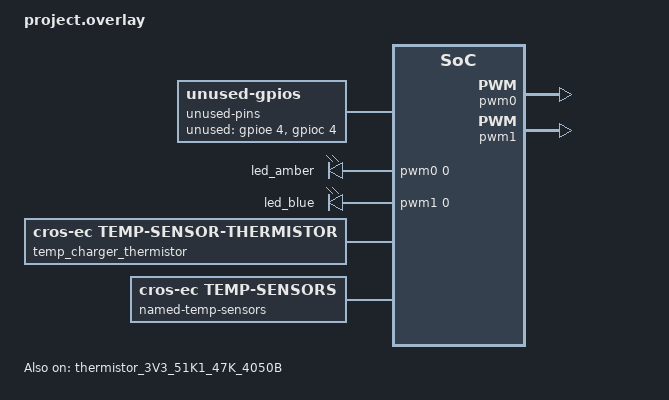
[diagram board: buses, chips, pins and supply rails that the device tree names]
/* Copyright 2022 The ChromiumOS Authors
 * Use of this source code is governed by a BSD-style license that can be
 * found in the LICENSE file.
 */

/* Corsola program common DTS includes */

#include "../common.dtsi"
#include "../power_signal.dtsi"
#include "../usba.dtsi"
#include "../npcx_adc.dtsi"
#include "../npcx_gpio.dtsi"
#include "../npcx_host_interface.dtsi"
#include "../npcx_i2c.dtsi"
#include "../npcx_interrupts.dtsi"
#include "../npcx_keyboard.dtsi"
#include "../npcx_motionsense.dtsi"
#include "../npcx_usbc.dtsi"
#include "../npcx_default_gpio_pinctrl.dtsi"
#include <cros/thermistor/thermistor.dtsi>
#include <dt-bindings/battery.h>

/ {
	aliases {
		/*
		 * Interrupt bindings for sensor devices.
		 */
		lsm6dsm-int = &base_accel;
	};

	/* Squirtle-specific ssfc fields. */
	cbi-ssfc {
		compatible = "cros-ec,cbi-ssfc";
		/*
		 * SSFC field to identify BASE motion sensor.
		 */
		base-sensor {
			enum-name = "BASE_SENSOR";
			size = <2>;

			base_sensor_bmi323: bmi323 {
				compatible = "cros-ec,cbi-ssfc-value";
				status = "okay";
				value = <1>;
				default;
			};
			base_sensor_lsm6dsm: lsm6dsm {
				compatible = "cros-ec,cbi-ssfc-value";
				status = "okay";
				value = <2>;
			};
		};

		/* SSFC field to identify LID motion sensor. */
		lid-sensor {
			enum-name = "LID_SENSOR";
			size = <2>;
			lid_sensor_bma422: bma422 {
				compatible = "cros-ec,cbi-ssfc-value";
				status = "okay";
				value = <1>;
				default;
			};
			lid_sensor_lis2dw12: lis2dw12 {
				compatible = "cros-ec,cbi-ssfc-value";
				status = "okay";
				value = <2>;
			};
		};
	};

	unused-pins {
		compatible = "unused-gpios";

		unused-gpios =
			/* base_imu_int_l */
			/* <&gpio5 6 0>,*/
			/* ec_pen_chg_dis_odl */
			<&gpioe 4 0>,
			/* lid_accel_int_l */
			/* <&gpiob 3 0>,*/
			/* gpio_tablet_mode_l */
			/*<&gpiob 2 0>,*/
			/* LED3 */
			<&gpioc 4 0>;
	};

	batteries {
		default_battery: lgc_ap18c8k {
			compatible = "lgc,ap18c8k", "battery-smart";
		};
		cosmx_ap20cbl-2 {
			compatible = "cosmx,ap20cbl-2", "battery-smart";
		};
		lgc_ap19b8k {
			compatible = "lgc,ap19b8k", "battery-smart";
		};
		lges-ap23a8l {
			compatible = "lges,ap23a8l", "battery-smart";
		};
		panasonic_ap19b5k {
			compatible = "panasonic,ap19b5k", "battery-smart";
		};
		panasonic_ap23a5l {
			compatible = "panasonic,ap23a5l", "battery-smart";
		};
		smp_ap18c7k {
			compatible = "smp,ap18c7k", "battery-smart";
		};
	};

	cros-keyscan {
		compatible = "cros-ec,keyscan";

		debounce-down = <20000>;
		debounce-up = <20000>;

		actual-key-mask = <
			0x1c	/* C0 */
			0xff	/* C1 */
			0xff	/* C2 */
			0xff	/* C3 */
			0xff	/* C4 */
			0xf5	/* C5 */
			0xff	/* C6 */
			0xa4	/* C7 */
			0xff	/* C8 */
			0xfe	/* C9 */
			0x55	/* C10 */
			0xfa	/* C11 */
			0xca	/* C12 */
		>;
	};

	/* Rotation matrix used by drivers. */
	motionsense-rotation-ref {
		lid_rot_lis2dw12: lid-rotation-ref-lis2dw12 {
			mat33 = <0 (-1) 0
				 (-1) 0 0
				 0 0 (-1)>;
		};

		base_rot_lsm6dsm: base-rotation-ref-lsm6dsm {
			mat33 = <0 (-1) 0
				 1 0 0
				 0 0 1>;
		};
	};

	/*
	 * Driver specific data. A driver-specific data can be shared with
	 * different motion sensors while they are using the same driver.
	 *
	 * If a node's compatible starts with "cros-ec,accelgyro-", it is for
	 * a common structure defined in accelgyro.h.
	 * e.g) compatible = "cros-ec,accelgyro-als-drv-data" is for
	 * "struct als_drv_data_t" in accelgyro.h
	 */
	motionsense-sensor-data {
		lis2dw12_data: lis2dw12-drv-data {
			compatible = "cros-ec,drvdata-lis2dw12";
			status = "okay";
		};

		lsm6dsm_accel_data: lsm6dsm-accel-drv-data {
			compatible = "cros-ec,drvdata-lsm6dsm";
			status = "okay";
		};
		lsm6dsm_gyro_data: lsm6dsm-gyro-drv-data {
			compatible = "cros-ec,drvdata-lsm6dsm";
			status = "okay";
		};
	};

	/*
	 * List of motion sensors that creates motion_sensors array.
	 * The nodelabel "lid_accel" and "base_accel" are used to indicate
	 * motion sensor IDs for lid angle calculation.
	 * TODO(b/238139272): The first entries of the array must be
	 * accelerometers,then gyroscope. Fix this dependency in the DTS
	 * processing which makes the devicetree entries independent.
	 */
	motionsense-sensor-alt {
			alt_lid_accel: alt-lid-accel {
			compatible = "cros-ec,lis2dw12";
			status = "okay";

			active-mask = "SENSOR_ACTIVE_S0_S3";
			location = "MOTIONSENSE_LOC_LID";
			mutex = <&lid_mutex>;
			port = <&i2c_sensor>;
			rot-standard-ref = <&lid_rot_lis2dw12>;
			default-range = <2>;
			drv-data = <&lis2dw12_data>;
			i2c-spi-addr-flags = "LIS2DWL_ADDR0_FLAGS";
			alternate-for = <&lid_accel>;
			alternate-ssfc-indicator = <&lid_sensor_lis2dw12>;
			configs {
				compatible =
					"cros-ec,motionsense-sensor-config";
				ec-s0 {
					odr = <(10000 | ROUND_UP_FLAG)>;
				};
				ec-s3 {
					odr = <(10000 | ROUND_UP_FLAG)>;
				};
			};
		};

		alt_base_accel: alt-base-accel {
			compatible = "cros-ec,lsm6dsm-accel";
			status = "okay";

			active-mask = "SENSOR_ACTIVE_S0_S3";
			location = "MOTIONSENSE_LOC_BASE";
			mutex = <&base_mutex>;
			port = <&i2c_sensor>;
			rot-standard-ref = <&base_rot_lsm6dsm>;
			drv-data = <&lsm6dsm_accel_data>;
			alternate-for = <&base_accel>;
			alternate-ssfc-indicator = <&base_sensor_lsm6dsm>;
			configs {
				compatible =
					"cros-ec,motionsense-sensor-config";
				ec-s0 {
					odr = <(10000 | ROUND_UP_FLAG)>;
				};
				ec-s3 {
					odr = <(10000 | ROUND_UP_FLAG)>;
				};
			};
		};

		alt_base_gyro: alt-base-gyro {
			compatible = "cros-ec,lsm6dsm-gyro";
			status = "okay";

			active-mask = "SENSOR_ACTIVE_S0_S3";
			location = "MOTIONSENSE_LOC_BASE";
			mutex = <&base_mutex>;
			port = <&i2c_sensor>;
			rot-standard-ref = <&base_rot_lsm6dsm>;
			drv-data = <&lsm6dsm_gyro_data>;
			alternate-for = <&base_gyro>;
			alternate-ssfc-indicator = <&base_sensor_lsm6dsm>;
		};
	};

	led-colors {
		compatible = "cros-ec,led-policy";

		/* Voltorb LED bat charge */
		bat-power-state-charge {
			charge-state = "LED_PWRS_CHARGE";
			/* Battery display percent range (>= Empty, <= 99%) */
			batt-lvl = <BATTERY_LEVEL_EMPTY 99>;

			battery-led {
				led-id = "EC_LED_ID_BATTERY_LED";

				color-0 {
					led-color = "LED_AMBER";
				};
			};
		};

		/* Voltorb LED bat charge, full batt-lvl */
		bat-power-state-charge-full {
			charge-state = "LED_PWRS_CHARGE";
			/* Battery display percent range (100%) */
			batt-lvl = <BATTERY_LEVEL_FULL BATTERY_LEVEL_FULL>;

			battery-led {
				led-id = "EC_LED_ID_BATTERY_LED";

				color-0 {
					led-color = "LED_BLUE";
				};
			};
		};

		/* Voltorb LED bat charge near full */
		bat-power-state-charge-near-full {
			charge-state = "LED_PWRS_CHARGE_NEAR_FULL";

			battery-led {
				led-id = "EC_LED_ID_BATTERY_LED";

				color-0 {
					led-color = "LED_BLUE";
				};
			};
		};

		/* Voltorb LED bat discharge */
		bat-power-state-discharge-s0 {
			charge-state = "LED_PWRS_DISCHARGE";
			chipset-state = "POWER_S0";

			battery-led {
				led-id = "EC_LED_ID_BATTERY_LED";

				color-0 {
					led-color = "LED_BLUE";
				};
			};
		};
		bat-power-state-discharge-s3 {
			charge-state = "LED_PWRS_DISCHARGE";
			chipset-state = "POWER_S3";

			battery-led {
				led-id = "EC_LED_ID_BATTERY_LED";

				color-0 {
					led-color = "LED_AMBER";
					period-ms = <1000>;
				};
				color-1 {
					led-color = "LED_OFF";
					period-ms = <3000>;
				};
			};
		};
		bat-power-state-discharge-s5 {
			charge-state = "LED_PWRS_DISCHARGE";
			chipset-state = "POWER_S5";

			battery-led {
				led-id = "EC_LED_ID_BATTERY_LED";

				color-0 {
					led-color = "LED_OFF";
				};
			};
		};

		/* Voltorb LED bat error */
		bat-power-state-error {
			charge-state = "LED_PWRS_ERROR";

			battery-led {
				led-id = "EC_LED_ID_BATTERY_LED";

				color-0 {
					led-color = "LED_AMBER";
					period-ms = <1000>;
				};
				color-1 {
					led-color = "LED_OFF";
					period-ms = <1000>;
				};
			};
		};

		/* Voltorb LED power idle */
		power-state-idle {
			charge-state = "LED_PWRS_IDLE";

			battery-led {
				led-id = "EC_LED_ID_BATTERY_LED";

				color-0 {
					led-color = "LED_BLUE";
				};
			};
		};

		/* Voltorb LED power forced idle */
		power-state-forced-idle {
			charge-state = "LED_PWRS_FORCED_IDLE";

			battery-led {
				led-id = "EC_LED_ID_BATTERY_LED";

				color-0 {
					led-color = "LED_AMBER";
					period-ms = <2000>;
				};
				color-1 {
					led-color = "LED_BLUE";
					period-ms = <2000>;
				};
			};
		};
	};

	pwmleds {
		compatible = "pwm-leds";

		led_amber: ec_led1_odl {
			pwms = <&pwm0 0 PWM_HZ(100) PWM_POLARITY_INVERTED>;
		};

		led_blue: ec_led2_odl {
			pwms = <&pwm1 0 PWM_HZ(100) PWM_POLARITY_INVERTED>;
		};
	};

	pwm-led-pins {
		compatible = "cros-ec,pwm-led-pins";

		battery_led: battery-led {
			led-id = "EC_LED_ID_BATTERY_LED";
			led-pwms = <&led_amber &led_blue>;

			color-off {
				led-color = "LED_OFF";
				led-values = <0 0>;
			};

			color-amber {
				led-color = "LED_AMBER";
				led-values = <100 0>;
			};

			color_blue {
				led-color = "LED_BLUE";
				led-values = <0 100>;
			};
		};
	};

	/* temp sensors */
	named-adc-channels {
		adc_temp_charger: temp-charger {
			enum-name = "ADC_TEMP_SENSOR_CHARGER";
			io-channels = <&adc0 8>;
		};
	};

	temp_charger_thermistor: charger-thermistor {
		compatible = "cros-ec,temp-sensor-thermistor";
		thermistor = <&thermistor_3V3_51K1_47K_4050B>;
		adc = <&adc_temp_charger>;
	};

	named-temp-sensors {
		compatible = "cros-ec,temp-sensors";
		temp_sensor_charger: charger-thermistor {
			temp_host_halt = <75>;
			temp_host_release_halt = <65>;
			sensor = <&temp_charger_thermistor>;
		};
	};

	usbc {
		port0@0{
			/delete-property/ bc12;
		};
		port1@1{
			/delete-property/ bc12;
		};
	};
};

&i2c1_0 {
	/delete-node/ pi3usb9201@5f;
};

&i2c2_0 {
	/delete-node/ rt1718s-bc12@40;
};

/* Amber LED */
&pwm0_gpc3 {
	drive-open-drain;
};

&pwm0 {
	status = "okay";
	clock-bus = "NPCX_CLOCK_BUS_LFCLK";
	pinctrl-0 = <&pwm0_gpc3>;
	pinctrl-names = "default";
};

/* Blue LED */
&pwm1_gpc2 {
	drive-open-drain;
};

&pwm1 {
	status = "okay";
	clock-bus = "NPCX_CLOCK_BUS_LFCLK";
	pinctrl-0 = <&pwm1_gpc2>;
	pinctrl-names = "default";
};

/* gpio overrides */
/ {
	named-gpios {
		/delete-node/ ec_pen_chg_dis_odl;
	};
};

/* interrupts overrides */
/ {
	gpio-interrupts {
		/*
		/delete-node/ base_imu;
		/delete-node/ tablet_mode;
		*/
	};
};

&thermistor_3V3_51K1_47K_4050B {
	status = "okay";
};

/* adc0 overrides */
&adc0 {
	pinctrl-0 = <&adc0_chan0_gp45
		     &adc0_chan1_gp44
		     &adc0_chan2_gp43
		     &adc0_chan3_gp42
		     &adc0_chan8_gpf1>;
};
